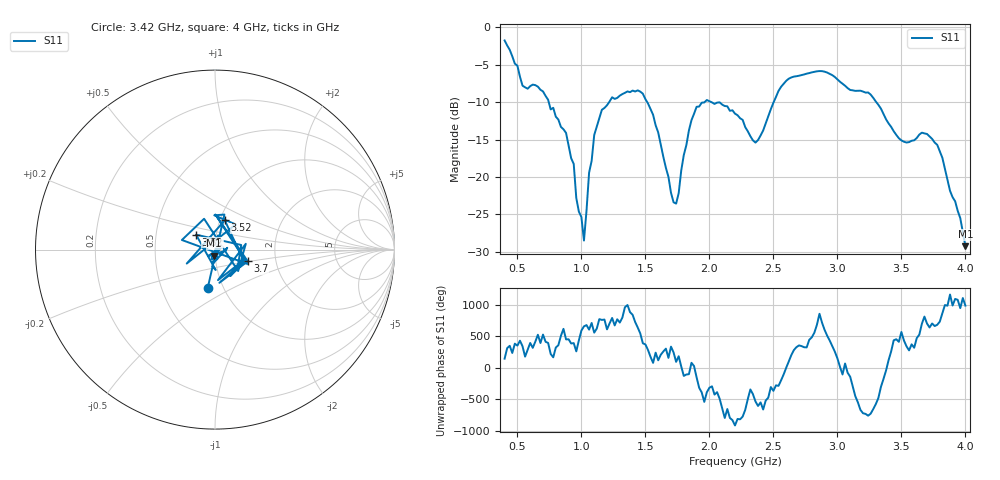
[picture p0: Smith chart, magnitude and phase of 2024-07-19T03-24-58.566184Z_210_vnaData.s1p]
!Created with skrf (http://scikit-rf.org).
# Hz S RI R 50.0
!freq ReS11 ImS11
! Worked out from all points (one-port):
!   181 points, 400 MHz to 4 GHz, reference 50 ohm
!   lowest |S11| = -29.2 dB at 4 GHz (marker M1), VSWR 1.07, Z = 49.4 - j3.39 ohm
!   |S11| at or under -10 dB: 744.9 MHz to 1.217 GHz (471.7 MHz wide, 48.1 % of centre); 2.016 GHz to 2.502 GHz (486 MHz wide, 21.5 % of centre); 3.304 GHz to end of sweep (the widest 3 of 4)
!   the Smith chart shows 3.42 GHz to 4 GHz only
!   S11 on the Smith chart (normalised r, x): 3.42 GHz: 0.85, -0.38; 3.52 GHz: 1.05, +0.35; 3.7 GHz: 1.43, -0.19; 3.82 GHz: 0.80, +0.14; 4 GHz: 0.99, -0.07
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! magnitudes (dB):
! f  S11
! 400 MHz  -1.8
! 540 MHz  -7.8
! 700 MHz  -8.6
! 860 MHz  -13.6
! 940 MHz  -18.3
! 960 MHz  -22.8
! 1.02 GHz  -28.5
! 1.06 GHz  -19.4
! 1.1 GHz  -14.4
! 1.16 GHz  -11.0
! 1.3 GHz  -9.1
! 1.48 GHz  -8.9
! 1.6 GHz  -14.0
! 1.72 GHz  -23.4
! 1.76 GHz  -22.2
! 1.8 GHz  -17.1
! 1.9 GHz  -10.6
! 2.2 GHz  -11.5
! 2.36 GHz  -15.4
! 2.66 GHz  -6.6
! 3.1 GHz  -8.4
! 3.26 GHz  -9.0
! 3.42 GHz  -13.3
! 3.52 GHz  -15.3
! 3.56 GHz  -15.3
! 3.7 GHz  -14.3
! 3.82 GHz  -17.4
! 4 GHz  -29.2
